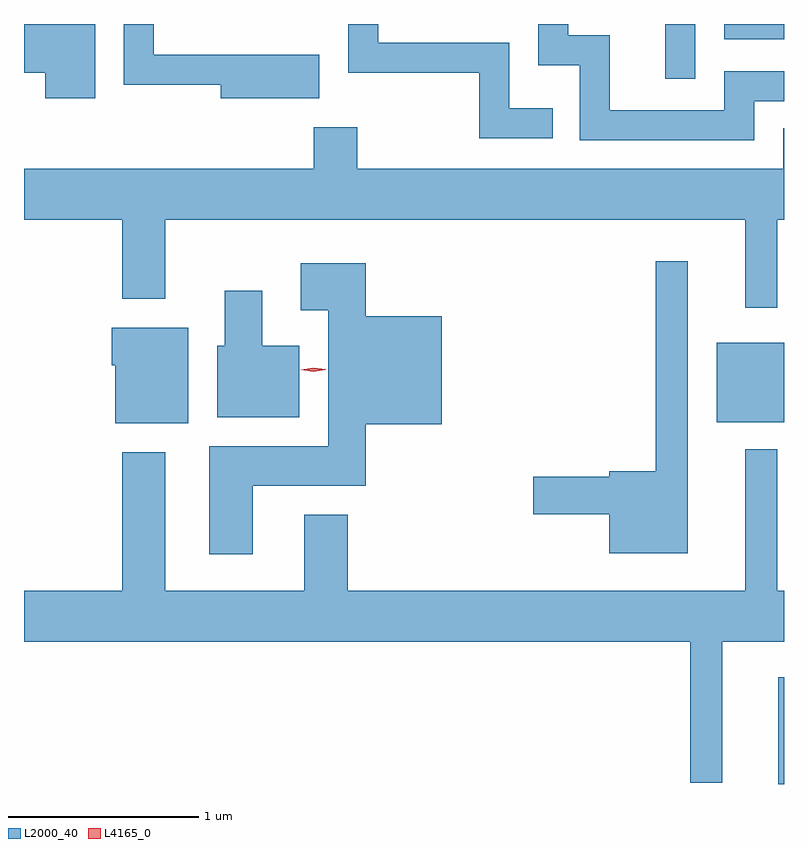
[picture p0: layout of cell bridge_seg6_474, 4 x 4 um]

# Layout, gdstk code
import gdstk
lib = gdstk.Library(unit=1e-6, precision=1e-09)
def R(c, l, rs):  # rectangles x0, y0, x1, y1
    for r in rs: c.add(gdstk.rectangle(r[:2], r[2:], *l))
def P(c, l, *ps):  # polygons
    for p in ps: c.add(gdstk.Polygon(p, *l))
L2000_40 = (2000, 40)
L4165_0 = (4165, 0)

bridge_seg6_474 = lib.new_cell('bridge_seg6_474')
R(bridge_seg6_474, L2000_40, [(619.116,1535.967,619.145,1536.528), (618.791,1537.871,619.145,1538.289), (618.521,1539.678,618.679,1539.967), (618.831,1539.886,619.145,1539.967)])
P(bridge_seg6_474, L2000_40, [(615.519,1539.967),(615.145,1539.967),(615.145,1539.711),(615.256,1539.711),(615.256,1539.576),(615.519,1539.576)],
  [(618.989,1539.561),(619.145,1539.561),(619.145,1539.719),(618.831,1539.719),(618.831,1539.514),(618.229,1539.514),(618.229,1539.909),(618.009,1539.909),(618.009,1539.967),(617.851,1539.967),(617.851,1539.751),(618.071,1539.751),(618.071,1539.356),(618.989,1539.356)],
  [(616.699,1539.804),(615.829,1539.804),(615.829,1539.967),(615.671,1539.967),(615.671,1539.646),(616.181,1539.646),(616.181,1539.576),(616.699,1539.576)],
  [(617.928,1539.524),(617.699,1539.524),(617.699,1539.869),(617.009,1539.869),(617.009,1539.967),(616.851,1539.967),(616.851,1539.711),(617.541,1539.711),(617.541,1539.366),(617.928,1539.366)],
  [(619.109,1538.936),(619.145,1538.936),(619.145,1539.418),(619.141,1539.418),(619.141,1539.204),(616.899,1539.204),(616.899,1539.424),(616.671,1539.424),(616.671,1539.204),(615.145,1539.204),(615.145,1538.936),(615.661,1538.936),(615.661,1538.521),(615.889,1538.521),(615.889,1538.936),(618.941,1538.936),(618.941,1538.473),(619.109,1538.473)],
  [(618.639,1538.718),(618.471,1538.718),(618.471,1537.614),(618.226,1537.614),(618.226,1537.584),(617.826,1537.584),(617.826,1537.386),(618.226,1537.386),(618.226,1537.181),(618.639,1537.181)],
  [(616.349,1537.536),(616.944,1537.536),(616.944,1537.861),(617.344,1537.861),(617.344,1538.429),(616.944,1538.429),(616.944,1538.709),(616.601,1538.709),(616.601,1538.461),(616.746,1538.461),(616.746,1537.744),(616.121,1537.744),(616.121,1537.176),(616.349,1537.176)],
  [(616.594,1538.274),(616.399,1538.274),(616.399,1538.564),(616.201,1538.564),(616.201,1538.274),(616.161,1538.274),(616.161,1537.896),(616.594,1537.896)],
  [(616.009,1538.369),(615.606,1538.369),(615.606,1538.171),(615.626,1538.171),(615.626,1537.866),(616.009,1537.866)],
  [(618.819,1536.716),(619.145,1536.716),(619.145,1536.984),(619.109,1536.984),(619.109,1537.728),(618.941,1537.728),(618.941,1536.984),(616.849,1536.984),(616.849,1537.384),(616.621,1537.384),(616.621,1536.984),(615.889,1536.984),(615.889,1537.714),(615.661,1537.714),(615.661,1536.984),(615.145,1536.984),(615.145,1536.716),(618.651,1536.716),(618.651,1535.973),(618.819,1535.973)])
P(bridge_seg6_474, L4165_0, [(616.668,1538.137),(616.602,1538.146),(616.601,1538.147),(616.602,1538.147),(616.668,1538.157),(616.734,1538.149),(616.734,1538.148),(616.734,1538.148)])

lib.write_gds('bridge_seg6_474.gds')
